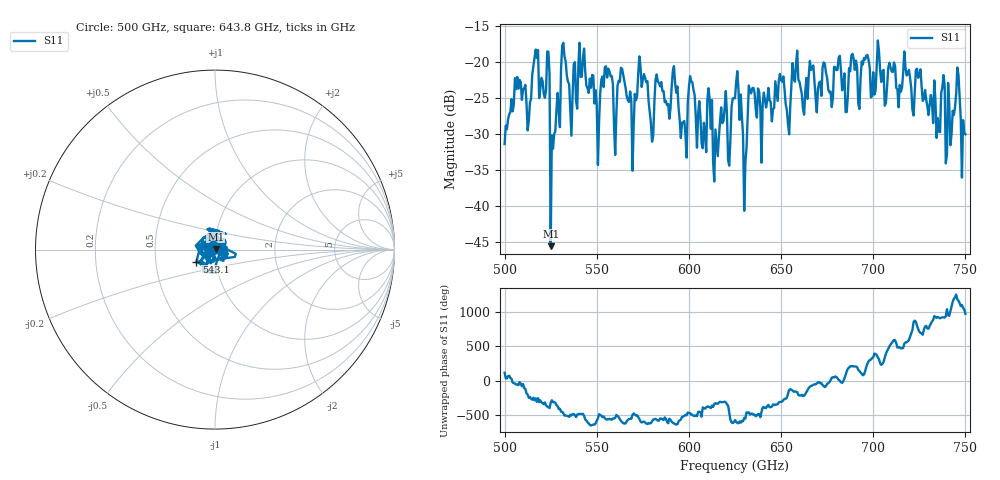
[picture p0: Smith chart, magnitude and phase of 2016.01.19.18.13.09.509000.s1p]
!Created with skrf (http://scikit-rf.org).
# GHz S RI R 50.0
!freq ReS11 ImS11
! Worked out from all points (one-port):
!   401 points, 500 GHz to 750 GHz, reference 50 ohm
!   lowest |S11| = -45.6 dB at 525 GHz (marker M1), VSWR 1.01, Z = 50.4 + j0.371 ohm
!   |S11| at or under -10 dB: start of sweep to end of sweep
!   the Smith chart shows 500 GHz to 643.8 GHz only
!   S11 on the Smith chart (normalised r, x): 500 GHz: 0.97, +0.05; 543.1 GHz: 0.81, -0.11; 643.8 GHz: 1.10, -0.04
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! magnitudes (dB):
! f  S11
! 500 GHz  -31.4
! 506.9 GHz  -22.1
! 513.1 GHz  -28.2
! 516.9 GHz  -18.3
! 523.1 GHz  -18.5
! 525 GHz  -45.6
! 526.2 GHz  -32.1
! 531.2 GHz  -17.7
! 543.1 GHz  -18.1
! 550 GHz  -26.1
! 562.5 GHz  -22.8
! 568.8 GHz  -25.5
! 573.8 GHz  -20.7
! 579.4 GHz  -28.5
! 593.8 GHz  -23.4
! 597.5 GHz  -28.2
! 601.9 GHz  -22.8
! 608.1 GHz  -28.5
! 611.2 GHz  -25.1
! 614.4 GHz  -29.4
! 625 GHz  -25.1
! 630 GHz  -40.7
! 633.8 GHz  -24.4
! 643.8 GHz  -25.3
! 656.2 GHz  -20.2
! 687.5 GHz  -21.3
! 718.8 GHz  -21.6
! 750 GHz  -30.1
